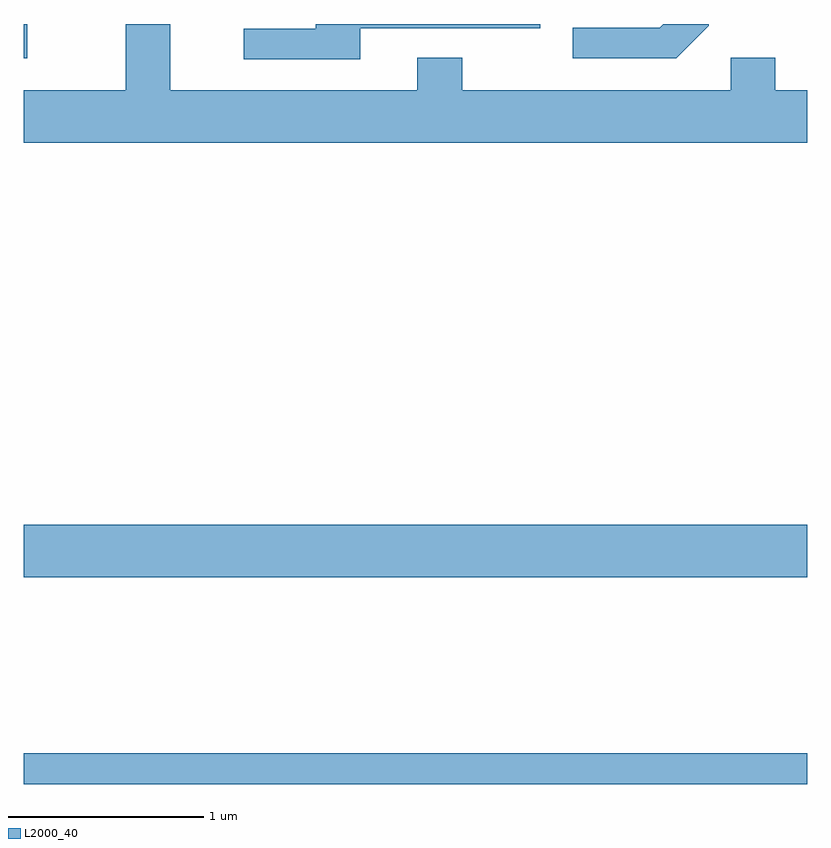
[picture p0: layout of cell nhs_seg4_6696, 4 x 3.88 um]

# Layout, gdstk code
import gdstk
lib = gdstk.Library(unit=1e-6, precision=1e-09)
def R(c, l, rs):  # rectangles x0, y0, x1, y1
    for r in rs: c.add(gdstk.rectangle(r[:2], r[2:], *l))
def P(c, l, *ps):  # polygons
    for p in ps: c.add(gdstk.Polygon(p, *l))
L2000_40 = (2000, 40)

nhs_seg4_6696 = lib.new_cell('nhs_seg4_6696')
R(nhs_seg4_6696, L2000_40, [(381.611,1318.101,385.611,1318.259), (381.611,1319.156,385.611,1319.424), (381.611,1321.806,381.629,1321.982)])
P(nhs_seg4_6696, L2000_40, [(385.611,1321.644),(385.449,1321.644),(385.449,1321.809),(385.221,1321.809),(385.221,1321.644),(383.849,1321.644),(383.849,1321.809),(383.621,1321.809),(383.621,1321.644),(382.359,1321.644),(382.359,1321.982),(382.131,1321.982),(382.131,1321.644),(381.611,1321.644),(381.611,1321.376),(385.611,1321.376)],
  [(385.109,1321.974),(385.109,1321.982),(384.877,1321.982),(384.859,1321.964),(384.413,1321.964),(384.413,1321.806),(384.942,1321.806)],
  [(383.329,1321.961),(384.249,1321.961),(384.249,1321.982),(383.101,1321.982),(383.101,1321.959),(382.733,1321.959),(382.733,1321.801),(383.329,1321.801)])

lib.write_gds('nhs_seg4_6696.gds')
